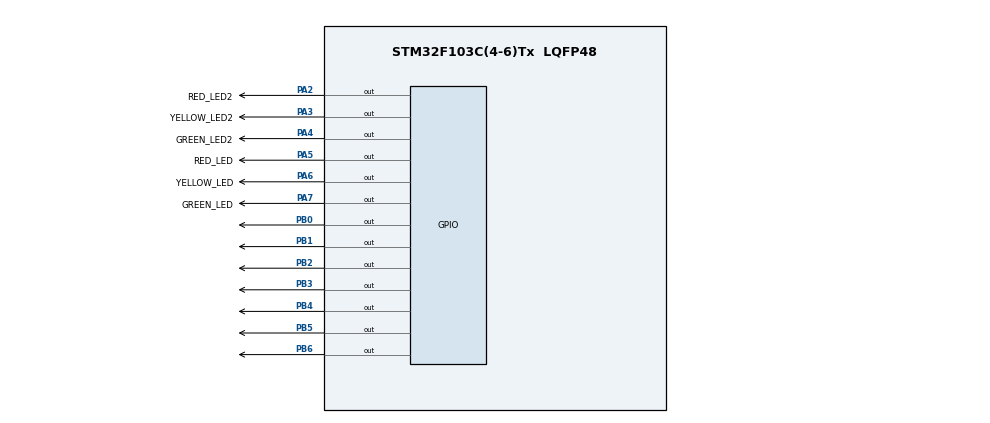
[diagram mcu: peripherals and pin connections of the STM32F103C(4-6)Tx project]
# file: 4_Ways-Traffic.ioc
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Mcu.Family=STM32F1
Mcu.Name=STM32F103C(4-6)Tx
Mcu.Package=LQFP48
NVIC.PriorityGroup=NVIC_PRIORITYGROUP_4
PA2.GPIO_Label=RED_LED2
PA2.Signal=GPIO_Output
PA3.GPIO_Label=YELLOW_LED2
PA3.Signal=GPIO_Output
PA4.GPIO_Label=GREEN_LED2
PA4.Signal=GPIO_Output
PA5.GPIO_Label=RED_LED
PA5.Signal=GPIO_Output
PA6.GPIO_Label=YELLOW_LED
PA6.Signal=GPIO_Output
PA7.GPIO_Label=GREEN_LED
PA7.Signal=GPIO_Output
PB0.Signal=GPIO_Output
PB1.Signal=GPIO_Output
PB2.Signal=GPIO_Output
PB3.Signal=GPIO_Output
PB4.Signal=GPIO_Output
PB5.Signal=GPIO_Output
PB6.Signal=GPIO_Output
ProjectManager.HeapSize=0x200
ProjectManager.StackSize=0x400
ProjectManager.TargetToolchain=STM32CubeIDE
RCC.APB1Freq_Value=8000000
RCC.APB2Freq_Value=8000000
board=custom

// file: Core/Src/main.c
/* USER CODE BEGIN Header */
/**
  ******************************************************************************
  * @file           : main.c
  * @brief          : Main program body
  ******************************************************************************
  * @attention
  *
  * Copyright (c) 2025 STMicroelectronics.
  * All rights reserved.
  *
  * This software is licensed under terms that can be found in the LICENSE file
  * in the root directory of this software component.
  * If no LICENSE file comes with this software, it is provided AS-IS.
  *
  ******************************************************************************
  */
/* USER CODE END Header */
#include "main.h"

/* USER CODE BEGIN PD */
#define RED_LED2 GPIO_PIN_2
#define YELLOW_LED2 GPIO_PIN_3
#define GREEN_LED2 GPIO_PIN_4
#define RED_LED GPIO_PIN_5
#define YELLOW_LED GPIO_PIN_6
#define GREEN_LED GPIO_PIN_7
#define ON 1
#define OFF 0
#define INIT 0
#define RED 1
#define YELLOW 2
#define GREEN 3
#define RED2 4
#define YELLOW2 5
#define GREEN2 6
/* USER CODE END PD */

/* USER CODE BEGIN PV */
uint8_t status = INIT;
uint8_t counter = 0;
/* USER CODE END PV */

void SystemClock_Config(void);
static void MX_GPIO_Init(void);
/* USER CODE BEGIN PFP */
void display7SEG(int num);
void init7SEG();
/* USER CODE END PFP */

int main(void)
{

  /* MCU Configuration--------------------------------------------------------*/

  /* Reset of all peripherals, Initializes the Flash interface and the Systick. */
  HAL_Init();

  /* Configure the system clock */
  SystemClock_Config();

  /* Initialize all configured peripherals */
  MX_GPIO_Init();

  /* Infinite loop */
  /* USER CODE BEGIN WHILE */
  while (1)
  {

	  switch(status){
	  case INIT:
		  HAL_GPIO_WritePin(GPIOA, GREEN_LED2, ON);
		  HAL_GPIO_WritePin(GPIOA, RED_LED2, ON);
		  HAL_GPIO_WritePin(GPIOA, YELLOW_LED2, ON);
		  HAL_GPIO_WritePin(GPIOA, GREEN_LED, ON);
		  HAL_GPIO_WritePin(GPIOA, RED_LED, ON);
		  HAL_GPIO_WritePin(GPIOA, YELLOW_LED, ON);
		  init7SEG();
		  status = GREEN;
		  counter = -1;
		  break;
	  case GREEN:
		  HAL_GPIO_WritePin(GPIOA, GREEN_LED2, OFF);
		  HAL_GPIO_WritePin(GPIOA, RED_LED2, ON);
		  HAL_GPIO_WritePin(GPIOA, YELLOW_LED2, ON);
		  display7SEG(3 - counter);
		  if(counter < 2){
			  HAL_GPIO_WritePin(GPIOA, GREEN_LED, ON);
			  HAL_GPIO_WritePin(GPIOA, RED_LED, OFF);
			  HAL_GPIO_WritePin(GPIOA, YELLOW_LED, ON);
		  }
		  if(counter  == 2 ){
			  status = YELLOW;
		  }
		  break;
	  case YELLOW:
		  HAL_GPIO_WritePin(GPIOA, GREEN_LED2, ON);
		  HAL_GPIO_WritePin(GPIOA, RED_LED2, ON);
		  HAL_GPIO_WritePin(GPIOA, YELLOW_LED2, OFF);
		  display7SEG(5 - counter);
		  if(counter >= 3 && counter < 4){
			  HAL_GPIO_WritePin(GPIOA, GREEN_LED, ON);
			  HAL_GPIO_WritePin(GPIOA, RED_LED, OFF);
			  HAL_GPIO_WritePin(GPIOA, YELLOW_LED, ON);
		  }
		  if(counter == 4){
			  status = RED;
		  }
		  break;
	  case RED:
		  HAL_GPIO_WritePin(GPIOA, GREEN_LED2, ON);
		  HAL_GPIO_WritePin(GPIOA, RED_LED2, OFF);
		  HAL_GPIO_WritePin(GPIOA, YELLOW_LED2, ON);
		  display7SEG(9 - counter);
		  if(counter >= 5 && counter < 8 ){
			  HAL_GPIO_WritePin(GPIOA, GREEN_LED, OFF);
			  HAL_GPIO_WritePin(GPIOA, RED_LED, ON);
			  HAL_GPIO_WritePin(GPIOA, YELLOW_LED, ON);
		  }
		  if(counter >= 8 && counter < 9){
			  HAL_GPIO_WritePin(GPIOA, GREEN_LED, ON);
			  HAL_GPIO_WritePin(GPIOA, RED_LED, ON);
			  HAL_GPIO_WritePin(GPIOA, YELLOW_LED, OFF);
		  }
		  if(counter == 9){
			  counter = -1;
			  status = GREEN;
		  }
		  break;
	  	  default: break;

	  }
	  counter ++;
	  HAL_Delay(1000);
    /* USER CODE END WHILE */

  }
}

void SystemClock_Config(void)
{
  RCC_OscInitTypeDef RCC_OscInitStruct = {0};
  RCC_ClkInitTypeDef RCC_ClkInitStruct = {0};

  /** Initializes the RCC Oscillators according to the specified parameters
  * in the RCC_OscInitTypeDef structure.
  */
  RCC_OscInitStruct.OscillatorType = RCC_OSCILLATORTYPE_HSI;
  RCC_OscInitStruct.HSIState = RCC_HSI_ON;
  RCC_OscInitStruct.HSICalibrationValue = RCC_HSICALIBRATION_DEFAULT;
  RCC_OscInitStruct.PLL.PLLState = RCC_PLL_NONE;
  if (HAL_RCC_OscConfig(&RCC_OscInitStruct) != HAL_OK)
  {
    Error_Handler();
  }

  /** Initializes the CPU, AHB and APB buses clocks
  */
  RCC_ClkInitStruct.ClockType = RCC_CLOCKTYPE_HCLK|RCC_CLOCKTYPE_SYSCLK
                              |RCC_CLOCKTYPE_PCLK1|RCC_CLOCKTYPE_PCLK2;
  RCC_ClkInitStruct.SYSCLKSource = RCC_SYSCLKSOURCE_HSI;
  RCC_ClkInitStruct.AHBCLKDivider = RCC_SYSCLK_DIV1;
  RCC_ClkInitStruct.APB1CLKDivider = RCC_HCLK_DIV1;
  RCC_ClkInitStruct.APB2CLKDivider = RCC_HCLK_DIV1;

  if (HAL_RCC_ClockConfig(&RCC_ClkInitStruct, FLASH_LATENCY_0) != HAL_OK)
  {
    Error_Handler();
  }
}

static void MX_GPIO_Init(void)
{
  GPIO_InitTypeDef GPIO_InitStruct = {0};

  /* GPIO Ports Clock Enable */
  __HAL_RCC_GPIOA_CLK_ENABLE();
  __HAL_RCC_GPIOB_CLK_ENABLE();

  /*Configure GPIO pin Output Level */
  HAL_GPIO_WritePin(GPIOA, RED_LED2_Pin|YELLOW_LED2_Pin|GREEN_LED2_Pin|RED_LED_Pin
                          |YELLOW_LED_Pin|GREEN_LED_Pin, GPIO_PIN_RESET);

  /*Configure GPIO pin Output Level */
  HAL_GPIO_WritePin(GPIOB, GPIO_PIN_0|GPIO_PIN_1|GPIO_PIN_2|GPIO_PIN_3
                          |GPIO_PIN_4|GPIO_PIN_5|GPIO_PIN_6, GPIO_PIN_RESET);

  /*Configure GPIO pins : RED_LED2_Pin YELLOW_LED2_Pin GREEN_LED2_Pin RED_LED_Pin
                           YELLOW_LED_Pin GREEN_LED_Pin */
  GPIO_InitStruct.Pin = RED_LED2_Pin|YELLOW_LED2_Pin|GREEN_LED2_Pin|RED_LED_Pin
                          |YELLOW_LED_Pin|GREEN_LED_Pin;
  GPIO_InitStruct.Mode = GPIO_MODE_OUTPUT_PP;
  GPIO_InitStruct.Pull = GPIO_NOPULL;
  GPIO_InitStruct.Speed = GPIO_SPEED_FREQ_LOW;
  HAL_GPIO_Init(GPIOA, &GPIO_InitStruct);

  /*Configure GPIO pins : PB0 PB1 PB2 PB3
                           PB4 PB5 PB6 */
  GPIO_InitStruct.Pin = GPIO_PIN_0|GPIO_PIN_1|GPIO_PIN_2|GPIO_PIN_3
                          |GPIO_PIN_4|GPIO_PIN_5|GPIO_PIN_6;
  GPIO_InitStruct.Mode = GPIO_MODE_OUTPUT_PP;
  GPIO_InitStruct.Pull = GPIO_NOPULL;
  GPIO_InitStruct.Speed = GPIO_SPEED_FREQ_LOW;
  HAL_GPIO_Init(GPIOB, &GPIO_InitStruct);

}

/* USER CODE BEGIN 4 */
void init7SEG(){
	HAL_GPIO_WritePin(GPIOB, GPIO_PIN_0, ON);
	HAL_GPIO_WritePin(GPIOB, GPIO_PIN_1, ON);
	HAL_GPIO_WritePin(GPIOB, GPIO_PIN_2, ON);
	HAL_GPIO_WritePin(GPIOB, GPIO_PIN_3, ON);
	HAL_GPIO_WritePin(GPIOB, GPIO_PIN_4, ON);
	HAL_GPIO_WritePin(GPIOB, GPIO_PIN_5, ON);
	HAL_GPIO_WritePin(GPIOB, GPIO_PIN_6, ON);
}
//a-0 b-1 c-2 d-3 e-4 f-5 g-6
void display7SEG(int num){
	switch(num){
	case 0:

		HAL_GPIO_WritePin(GPIOB, GPIO_PIN_0, OFF);
		HAL_GPIO_WritePin(GPIOB, GPIO_PIN_1, OFF);
		HAL_GPIO_WritePin(GPIOB, GPIO_PIN_2, OFF);
		HAL_GPIO_WritePin(GPIOB, GPIO_PIN_3, OFF);
		HAL_GPIO_WritePin(GPIOB, GPIO_PIN_4, OFF);
		HAL_GPIO_WritePin(GPIOB, GPIO_PIN_5, OFF);
		HAL_GPIO_WritePin(GPIOB, GPIO_PIN_6, ON);
		break;
	case 1:
		HAL_GPIO_WritePin(GPIOB, GPIO_PIN_0, ON);
		HAL_GPIO_WritePin(GPIOB, GPIO_PIN_1, OFF);
		HAL_GPIO_WritePin(GPIOB, GPIO_PIN_2, OFF);
		HAL_GPIO_WritePin(GPIOB, GPIO_PIN_3, ON);
		HAL_GPIO_WritePin(GPIOB, GPIO_PIN_4, ON);
		HAL_GPIO_WritePin(GPIOB, GPIO_PIN_5, ON);
		HAL_GPIO_WritePin(GPIOB, GPIO_PIN_6, ON);
		break;
	case 2:
		HAL_GPIO_WritePin(GPIOB, GPIO_PIN_0, OFF);
		HAL_GPIO_WritePin(GPIOB, GPIO_PIN_1, OFF);
		HAL_GPIO_WritePin(GPIOB, GPIO_PIN_2, ON);
		HAL_GPIO_WritePin(GPIOB, GPIO_PIN_3, OFF);
		HAL_GPIO_WritePin(GPIOB, GPIO_PIN_4, OFF);
		HAL_GPIO_WritePin(GPIOB, GPIO_PIN_5, ON);
		HAL_GPIO_WritePin(GPIOB, GPIO_PIN_6, OFF);
		break;
	case 3:
		HAL_GPIO_WritePin(GPIOB, GPIO_PIN_0, OFF);
		HAL_GPIO_WritePin(GPIOB, GPIO_PIN_1, OFF);
		HAL_GPIO_WritePin(GPIOB, GPIO_PIN_2, OFF);
		HAL_GPIO_WritePin(GPIOB, GPIO_PIN_3, OFF);
		HAL_GPIO_WritePin(GPIOB, GPIO_PIN_4, ON);
		HAL_GPIO_WritePin(GPIOB, GPIO_PIN_5, ON);
		HAL_GPIO_WritePin(GPIOB, GPIO_PIN_6, OFF);
		break;
	case 4:
		HAL_GPIO_WritePin(GPIOB, GPIO_PIN_0, ON);
		HAL_GPIO_WritePin(GPIOB, GPIO_PIN_1, OFF);
		HAL_GPIO_WritePin(GPIOB, GPIO_PIN_2, OFF);
		HAL_GPIO_WritePin(GPIOB, GPIO_PIN_3, ON);
		HAL_GPIO_WritePin(GPIOB, GPIO_PIN_4, ON);
		HAL_GPIO_WritePin(GPIOB, GPIO_PIN_5, OFF);
		HAL_GPIO_WritePin(GPIOB, GPIO_PIN_6, OFF);
		break;
	case 5:
		HAL_GPIO_WritePin(GPIOB, GPIO_PIN_0, OFF);
		HAL_GPIO_WritePin(GPIOB, GPIO_PIN_1, ON);
		HAL_GPIO_WritePin(GPIOB, GPIO_PIN_2, OFF);
		HAL_GPIO_WritePin(GPIOB, GPIO_PIN_3, OFF);
		HAL_GPIO_WritePin(GPIOB, GPIO_PIN_4, ON);
		HAL_GPIO_WritePin(GPIOB, GPIO_PIN_5, OFF);
		HAL_GPIO_WritePin(GPIOB, GPIO_PIN_6, OFF);
		break;
	case 6:
		HAL_GPIO_WritePin(GPIOB, GPIO_PIN_0, OFF);
		HAL_GPIO_WritePin(GPIOB, GPIO_PIN_1, ON);
		HAL_GPIO_WritePin(GPIOB, GPIO_PIN_2, OFF);
		HAL_GPIO_WritePin(GPIOB, GPIO_PIN_3, OFF);
		HAL_GPIO_WritePin(GPIOB, GPIO_PIN_4, OFF);
		HAL_GPIO_WritePin(GPIOB, GPIO_PIN_5, OFF);
		HAL_GPIO_WritePin(GPIOB, GPIO_PIN_6, OFF);
		break;
	case 7:
		HAL_GPIO_WritePin(GPIOB, GPIO_PIN_0, OFF);
		HAL_GPIO_WritePin(GPIOB, GPIO_PIN_1, OFF);
		HAL_GPIO_WritePin(GPIOB, GPIO_PIN_2, OFF);
		HAL_GPIO_WritePin(GPIOB, GPIO_PIN_3, ON);
		HAL_GPIO_WritePin(GPIOB, GPIO_PIN_4, ON);
		HAL_GPIO_WritePin(GPIOB, GPIO_PIN_5, ON);
		HAL_GPIO_WritePin(GPIOB, GPIO_PIN_6, ON);
		break;
	case 8:
		HAL_GPIO_WritePin(GPIOB, GPIO_PIN_0, OFF);
		HAL_GPIO_WritePin(GPIOB, GPIO_PIN_1, OFF);
		HAL_GPIO_WritePin(GPIOB, GPIO_PIN_2, OFF);
		HAL_GPIO_WritePin(GPIOB, GPIO_PIN_3, OFF);
		HAL_GPIO_WritePin(GPIOB, GPIO_PIN_4, OFF);
		HAL_GPIO_WritePin(GPIOB, GPIO_PIN_5, OFF);
		HAL_GPIO_WritePin(GPIOB, GPIO_PIN_6, OFF);
		break;
	case 9:
		HAL_GPIO_WritePin(GPIOB, GPIO_PIN_0, OFF);
		HAL_GPIO_WritePin(GPIOB, GPIO_PIN_1, OFF);
		HAL_GPIO_WritePin(GPIOB, GPIO_PIN_2, OFF);
		HAL_GPIO_WritePin(GPIOB, GPIO_PIN_3, OFF);
		HAL_GPIO_WritePin(GPIOB, GPIO_PIN_4, ON);
		HAL_GPIO_WritePin(GPIOB, GPIO_PIN_5, OFF);
		HAL_GPIO_WritePin(GPIOB, GPIO_PIN_6, OFF);
		break;
	default: break;

	}
}
/* USER CODE END 4 */

void Error_Handler(void)
{
  __disable_irq();
  while (1)
  {
  }
}
